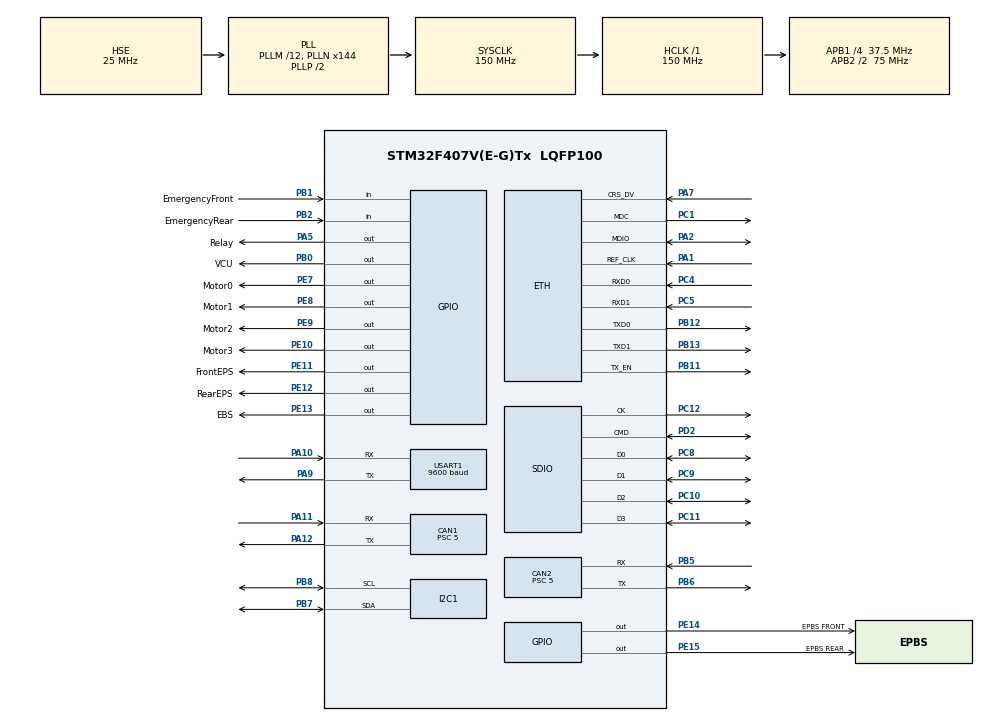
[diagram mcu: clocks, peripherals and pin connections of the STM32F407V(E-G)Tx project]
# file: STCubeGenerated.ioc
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CAN1.BS1=CAN_BS1_9TQ
CAN1.BS2=CAN_BS2_5TQ
CAN1.CalculateBaudRate=499999
CAN1.CalculateTimeBit=2000
CAN1.CalculateTimeQuantum=133.33333333333334
CAN1.Prescaler=5
CAN2.BS1=CAN_BS1_9TQ
CAN2.BS2=CAN_BS2_5TQ
CAN2.CalculateBaudRate=499999
CAN2.CalculateTimeBit=2000
CAN2.CalculateTimeQuantum=133.33333333333334
CAN2.Prescaler=5
Dma.Request0=SDIO_RX
Dma.Request1=SDIO_TX
Dma.SDIO_RX.0.Direction=DMA_PERIPH_TO_MEMORY
Dma.SDIO_RX.0.FIFOMode=DMA_FIFOMODE_ENABLE
Dma.SDIO_RX.0.FIFOThreshold=DMA_FIFO_THRESHOLD_FULL
Dma.SDIO_RX.0.Instance=DMA2_Stream3
Dma.SDIO_RX.0.MemBurst=DMA_MBURST_INC4
Dma.SDIO_RX.0.MemDataAlignment=DMA_MDATAALIGN_WORD
Dma.SDIO_RX.0.MemInc=DMA_MINC_ENABLE
Dma.SDIO_RX.0.Mode=DMA_PFCTRL
Dma.SDIO_RX.0.PeriphBurst=DMA_PBURST_INC4
Dma.SDIO_RX.0.PeriphDataAlignment=DMA_PDATAALIGN_WORD
Dma.SDIO_RX.0.PeriphInc=DMA_PINC_DISABLE
Dma.SDIO_RX.0.Priority=DMA_PRIORITY_MEDIUM
Dma.SDIO_TX.1.Direction=DMA_MEMORY_TO_PERIPH
Dma.SDIO_TX.1.FIFOMode=DMA_FIFOMODE_ENABLE
Dma.SDIO_TX.1.FIFOThreshold=DMA_FIFO_THRESHOLD_FULL
Dma.SDIO_TX.1.Instance=DMA2_Stream6
Dma.SDIO_TX.1.MemBurst=DMA_MBURST_INC4
Dma.SDIO_TX.1.MemDataAlignment=DMA_MDATAALIGN_WORD
Dma.SDIO_TX.1.MemInc=DMA_MINC_ENABLE
Dma.SDIO_TX.1.Mode=DMA_PFCTRL
Dma.SDIO_TX.1.PeriphBurst=DMA_PBURST_INC4
Dma.SDIO_TX.1.PeriphDataAlignment=DMA_PDATAALIGN_WORD
Dma.SDIO_TX.1.PeriphInc=DMA_PINC_DISABLE
Dma.SDIO_TX.1.Priority=DMA_PRIORITY_MEDIUM
ETH.MediaInterface=HAL_ETH_RMII_MODE
ETH.PHY_Name_RMII=DP83848_PHY_ADDRESS
ETH.RxMode=ETH_RXINTERRUPT_MODE
Mcu.Family=STM32F4
Mcu.Name=STM32F407V(E-G)Tx
Mcu.Package=LQFP100
NVIC.DMA2_Stream3_IRQn=true\:0\:0\:false\:false\:true\:false\:true\:true
NVIC.DMA2_Stream6_IRQn=true\:0\:0\:false\:false\:true\:false\:true\:true
NVIC.ETH_IRQn=true\:0\:0\:false\:false\:false\:false\:true\:true
NVIC.PriorityGroup=NVIC_PRIORITYGROUP_4
NVIC.TIM8_TRG_COM_TIM14_IRQn=true\:15\:0\:false\:false\:true\:false\:true\:true
NVIC.TimeBase=TIM8_TRG_COM_TIM14_IRQn
NVIC.TimeBaseIP=TIM14
NVIC.USART1_IRQn=true\:0\:0\:false\:false\:true\:true\:true\:true
PA1.Mode=RMII
PA1.Signal=ETH_REF_CLK
PA10.Mode=Asynchronous
PA10.Signal=USART1_RX
PA11.Mode=CAN_Activate
PA11.Signal=CAN1_RX
PA12.Mode=CAN_Activate
PA12.Signal=CAN1_TX
PA13.Mode=Serial_Wire
PA13.Signal=SYS_JTMS-SWDIO
PA14.Mode=Serial_Wire
PA14.Signal=SYS_JTCK-SWCLK
PA2.Mode=RMII
PA2.Signal=ETH_MDIO
PA5.GPIO_Label=Relay
PA5.Signal=GPIO_Output
PA7.Mode=RMII
PA7.Signal=ETH_CRS_DV
PA9.Mode=Asynchronous
PA9.Signal=USART1_TX
PB0.GPIO_Label=VCU
PB0.Signal=GPIO_Output
PB1.GPIO_Label=EmergencyFront
PB1.Signal=GPIO_Input
PB11.Mode=RMII
PB11.Signal=ETH_TX_EN
PB12.Mode=RMII
PB12.Signal=ETH_TXD0
PB13.Mode=RMII
PB13.Signal=ETH_TXD1
PB2.GPIO_Label=EmergencyRear
PB2.Signal=GPIO_Input
PB5.Mode=CAN_Activate
PB5.Signal=CAN2_RX
PB6.Mode=CAN_Activate
PB6.Signal=CAN2_TX
PB7.Mode=I2C
PB7.Signal=I2C1_SDA
PB8.Mode=I2C
PB8.Signal=I2C1_SCL
PC1.Mode=RMII
PC1.Signal=ETH_MDC
PC10.Mode=SD_4_bits_Wide_bus
PC10.Signal=SDIO_D2
PC11.Mode=SD_4_bits_Wide_bus
PC11.Signal=SDIO_D3
PC12.Mode=SD_4_bits_Wide_bus
PC12.Signal=SDIO_CK
PC4.Mode=RMII
PC4.Signal=ETH_RXD0
PC5.Mode=RMII
PC5.Signal=ETH_RXD1
PC8.Mode=SD_4_bits_Wide_bus
PC8.Signal=SDIO_D0
PC9.Mode=SD_4_bits_Wide_bus
PC9.Signal=SDIO_D1
PD2.Mode=SD_4_bits_Wide_bus
PD2.Signal=SDIO_CMD
PE10.GPIO_Label=Motor3
PE10.Signal=GPIO_Output
PE11.GPIO_Label=FrontEPS
PE11.Signal=GPIO_Output
PE12.GPIO_Label=RearEPS
PE12.Signal=GPIO_Output
PE13.GPIO_Label=EBS
PE13.Signal=GPIO_Output
PE14.GPIO_Label=EPBS FRONT
PE14.Signal=GPIO_Output
PE15.GPIO_Label=EPBS REAR
PE15.Signal=GPIO_Output
PE7.GPIO_Label=Motor0
PE7.Signal=GPIO_Output
PE8.GPIO_Label=Motor1
PE8.Signal=GPIO_Output
PE9.GPIO_Label=Motor2
PE9.Signal=GPIO_Output
PH0-OSC_IN.Mode=HSE-External-Oscillator
PH0-OSC_IN.Signal=RCC_OSC_IN
PH1-OSC_OUT.Mode=HSE-External-Oscillator
PH1-OSC_OUT.Signal=RCC_OSC_OUT
ProjectManager.HeapSize=0x200
ProjectManager.StackSize=0x400
ProjectManager.TargetToolchain=MDK-ARM V5.32
RCC.48MHZClocksFreq_Value=42857142.85714286
RCC.AHBFreq_Value=150000000
RCC.APB1CLKDivider=RCC_HCLK_DIV4
RCC.APB1Freq_Value=37500000
RCC.APB1TimFreq_Value=75000000
RCC.APB2CLKDivider=RCC_HCLK_DIV2
RCC.APB2Freq_Value=75000000
RCC.APB2TimFreq_Value=150000000
RCC.CortexFreq_Value=150000000
RCC.HCLKFreq_Value=150000000
RCC.HSE_VALUE=25000000
RCC.HSI_VALUE=16000000
RCC.LSE_VALUE=32768
RCC.PLLM=12
RCC.PLLN=144
RCC.PLLQ=7
RCC.PLLSourceVirtual=RCC_PLLSOURCE_HSE
RCC.SYSCLKFreq_VALUE=150000000
RCC.SYSCLKSource=RCC_SYSCLKSOURCE_PLLCLK
RCC.VCOOutputFreq_Value=300000000
USART1.BaudRate=9600
USART1.VirtualMode=VM_ASYNC
VP_SYS_VS_tim14.Mode=TIM14
board=custom

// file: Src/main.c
/* USER CODE BEGIN Header */
/**
  ******************************************************************************
  * @file           : main.c
  * @brief          : Main program body
  ******************************************************************************
  * @attention
  *
  * Copyright (c) 2022 STMicroelectronics.
  * All rights reserved.
  *
  * This software is licensed under terms that can be found in the LICENSE file
  * in the root directory of this software component.
  * If no LICENSE file comes with this software, it is provided AS-IS.
  *
  ******************************************************************************
  */
/* USER CODE END Header */
#include "main.h"
#include "string.h"

/* USER CODE BEGIN Includes */
#include "app_main.h"
/* USER CODE END Includes */

/* USER CODE BEGIN PM */
typedef struct {
	uint16_t Attributes;
	uint16_t ChecksumCtrl;
	uint16_t CRCPadCtrl;
} ETH_TxPacketConfig;
#define ETH_RX_DESC_CNT 1
#define ETH_TX_DESC_CNT 1
/* USER CODE END PM */

ETH_TxPacketConfig TxConfig;
ETH_DMADescTypeDef  DMARxDscrTab[ETH_RX_DESC_CNT]; /* Ethernet Rx DMA Descriptors */
ETH_DMADescTypeDef  DMATxDscrTab[ETH_TX_DESC_CNT]; /* Ethernet Tx DMA Descriptors */

 CAN_HandleTypeDef hcan1;
CAN_HandleTypeDef hcan2;

ETH_HandleTypeDef heth;

I2C_HandleTypeDef hi2c1;

SD_HandleTypeDef hsd;
DMA_HandleTypeDef hdma_sdio_rx;
DMA_HandleTypeDef hdma_sdio_tx;

void SystemClock_Config(void);
static void MX_GPIO_Init(void);
static void MX_ETH_Init(void);
static void MX_DMA_Init(void);
static void MX_SDIO_SD_Init(void);
static void MX_CAN1_Init(void);
static void MX_CAN2_Init(void);
static void MX_I2C1_Init(void);
static void MX_USART1_UART_Init(void);

int main(void)
{

  /* MCU Configuration--------------------------------------------------------*/

  /* Reset of all peripherals, Initializes the Flash interface and the Systick. */
  HAL_Init();

  /* Configure the system clock */
  SystemClock_Config();

  /* Initialize all configured peripherals */
  MX_GPIO_Init();
  MX_ETH_Init();
  MX_DMA_Init();
  MX_SDIO_SD_Init();
  MX_CAN1_Init();
  MX_CAN2_Init();
  MX_I2C1_Init();
  MX_USART1_UART_Init();
  /* USER CODE BEGIN 2 */

    osKernelInitialize();
		InitAppMain();
    osKernelStart();
  /* USER CODE END 2 */

  /* Infinite loop */
  while (1)
  {

  }
}

void SystemClock_Config(void)
{
  RCC_OscInitTypeDef RCC_OscInitStruct = {0};
  RCC_ClkInitTypeDef RCC_ClkInitStruct = {0};

  /** Configure the main internal regulator output voltage
  */
  __HAL_RCC_PWR_CLK_ENABLE();
  __HAL_PWR_VOLTAGESCALING_CONFIG(PWR_REGULATOR_VOLTAGE_SCALE1);

  /** Initializes the RCC Oscillators according to the specified parameters
  * in the RCC_OscInitTypeDef structure.
  */
  RCC_OscInitStruct.OscillatorType = RCC_OSCILLATORTYPE_HSE;
  RCC_OscInitStruct.HSEState = RCC_HSE_ON;
  RCC_OscInitStruct.PLL.PLLState = RCC_PLL_ON;
  RCC_OscInitStruct.PLL.PLLSource = RCC_PLLSOURCE_HSE;
  RCC_OscInitStruct.PLL.PLLM = 12;
  RCC_OscInitStruct.PLL.PLLN = 144;
  RCC_OscInitStruct.PLL.PLLP = RCC_PLLP_DIV2;
  RCC_OscInitStruct.PLL.PLLQ = 7;
  if (HAL_RCC_OscConfig(&RCC_OscInitStruct) != HAL_OK)
  {
    Error_Handler();
  }

  /** Initializes the CPU, AHB and APB buses clocks
  */
  RCC_ClkInitStruct.ClockType = RCC_CLOCKTYPE_HCLK|RCC_CLOCKTYPE_SYSCLK
                              |RCC_CLOCKTYPE_PCLK1|RCC_CLOCKTYPE_PCLK2;
  RCC_ClkInitStruct.SYSCLKSource = RCC_SYSCLKSOURCE_PLLCLK;
  RCC_ClkInitStruct.AHBCLKDivider = RCC_SYSCLK_DIV1;
  RCC_ClkInitStruct.APB1CLKDivider = RCC_HCLK_DIV4;
  RCC_ClkInitStruct.APB2CLKDivider = RCC_HCLK_DIV2;

  if (HAL_RCC_ClockConfig(&RCC_ClkInitStruct, FLASH_LATENCY_4) != HAL_OK)
  {
    Error_Handler();
  }
}

static void MX_CAN1_Init(void)
{

  hcan1.Instance = CAN1;
  hcan1.Init.Prescaler = 5;
  hcan1.Init.Mode = CAN_MODE_NORMAL;
  hcan1.Init.SyncJumpWidth = CAN_SJW_1TQ;
  hcan1.Init.TimeSeg1 = CAN_BS1_9TQ;
  hcan1.Init.TimeSeg2 = CAN_BS2_5TQ;
  hcan1.Init.TimeTriggeredMode = DISABLE;
  hcan1.Init.AutoBusOff = DISABLE;
  hcan1.Init.AutoWakeUp = DISABLE;
  hcan1.Init.AutoRetransmission = DISABLE;
  hcan1.Init.ReceiveFifoLocked = DISABLE;
  hcan1.Init.TransmitFifoPriority = DISABLE;
  if (HAL_CAN_Init(&hcan1) != HAL_OK)
  {
    Error_Handler();
  }

}

static void MX_CAN2_Init(void)
{

  hcan2.Instance = CAN2;
  hcan2.Init.Prescaler = 5;
  hcan2.Init.Mode = CAN_MODE_NORMAL;
  hcan2.Init.SyncJumpWidth = CAN_SJW_1TQ;
  hcan2.Init.TimeSeg1 = CAN_BS1_9TQ;
  hcan2.Init.TimeSeg2 = CAN_BS2_5TQ;
  hcan2.Init.TimeTriggeredMode = DISABLE;
  hcan2.Init.AutoBusOff = DISABLE;
  hcan2.Init.AutoWakeUp = DISABLE;
  hcan2.Init.AutoRetransmission = DISABLE;
  hcan2.Init.ReceiveFifoLocked = DISABLE;
  hcan2.Init.TransmitFifoPriority = DISABLE;
  if (HAL_CAN_Init(&hcan2) != HAL_OK)
  {
    Error_Handler();
  }

}

static void MX_ETH_Init(void)
{

   static uint8_t MACAddr[6];

  /* USER CODE BEGIN ETH_Init 1 */
	#define HAL_ETH_RMII_MODE ETH_RXINTERRUPT_MODE
	#define ETH_TX_PACKETS_FEATURES_CSUM 0
	#define ETH_TX_PACKETS_FEATURES_CRCPAD 0
	#define ETH_CHECKSUM_IPHDR_PAYLOAD_INSERT_PHDR_CALC 0
	#define ETH_CRC_PAD_INSERT 0
  /* USER CODE END ETH_Init 1 */
  heth.Instance = ETH;
  MACAddr[0] = 0x00;
  MACAddr[1] = 0x80;
  MACAddr[2] = 0xE1;
  MACAddr[3] = 0x00;
  MACAddr[4] = 0x00;
  MACAddr[5] = 0x00;
  heth.Init.MACAddr = &MACAddr[0];
  heth.Init.MediaInterface = HAL_ETH_RMII_MODE;

  /* USER CODE BEGIN MACADDRESS */
  heth.Init.AutoNegotiation = ETH_AUTONEGOTIATION_DISABLE;
  heth.Init.Speed = ETH_SPEED_100M;
  heth.Init.DuplexMode = ETH_MODE_FULLDUPLEX;
  heth.Init.PhyAddress = DP83848_PHY_ADDRESS;
  heth.Init.RxMode = ETH_RXINTERRUPT_MODE;
  heth.Init.ChecksumMode = ETH_CHECKSUM_BY_HARDWARE;
  heth.Init.MediaInterface = ETH_MEDIA_INTERFACE_RMII;
  /* USER CODE END MACADDRESS */

  if (HAL_ETH_Init(&heth) != HAL_OK)
  {
    Error_Handler();
  }

  memset(&TxConfig, 0 , sizeof(ETH_TxPacketConfig));
  TxConfig.Attributes = ETH_TX_PACKETS_FEATURES_CSUM | ETH_TX_PACKETS_FEATURES_CRCPAD;
  TxConfig.ChecksumCtrl = ETH_CHECKSUM_IPHDR_PAYLOAD_INSERT_PHDR_CALC;
  TxConfig.CRCPadCtrl = ETH_CRC_PAD_INSERT;

}

static void MX_I2C1_Init(void)
{

  hi2c1.Instance = I2C1;
  hi2c1.Init.ClockSpeed = 100000;
  hi2c1.Init.DutyCycle = I2C_DUTYCYCLE_2;
  hi2c1.Init.OwnAddress1 = 0;
  hi2c1.Init.AddressingMode = I2C_ADDRESSINGMODE_7BIT;
  hi2c1.Init.DualAddressMode = I2C_DUALADDRESS_DISABLE;
  hi2c1.Init.OwnAddress2 = 0;
  hi2c1.Init.GeneralCallMode = I2C_GENERALCALL_DISABLE;
  hi2c1.Init.NoStretchMode = I2C_NOSTRETCH_DISABLE;
  if (HAL_I2C_Init(&hi2c1) != HAL_OK)
  {
    Error_Handler();
  }

}

static void MX_SDIO_SD_Init(void)
{

  hsd.Instance = SDIO;
  hsd.Init.ClockEdge = SDIO_CLOCK_EDGE_RISING;
  hsd.Init.ClockBypass = SDIO_CLOCK_BYPASS_DISABLE;
  hsd.Init.ClockPowerSave = SDIO_CLOCK_POWER_SAVE_DISABLE;
  hsd.Init.BusWide = SDIO_BUS_WIDE_1B;
  hsd.Init.HardwareFlowControl = SDIO_HARDWARE_FLOW_CONTROL_DISABLE;
  hsd.Init.ClockDiv = 0;
  if (HAL_SD_Init(&hsd) != HAL_OK)
  {
    Error_Handler();
  }
  if (HAL_SD_ConfigWideBusOperation(&hsd, SDIO_BUS_WIDE_4B) != HAL_OK)
  {
    Error_Handler();
  }

}

static void MX_USART1_UART_Init(void)
{

  LL_USART_InitTypeDef USART_InitStruct = {0};

  LL_GPIO_InitTypeDef GPIO_InitStruct = {0};

  /* Peripheral clock enable */
  LL_APB2_GRP1_EnableClock(LL_APB2_GRP1_PERIPH_USART1);

  LL_AHB1_GRP1_EnableClock(LL_AHB1_GRP1_PERIPH_GPIOA);
  /**USART1 GPIO Configuration
  PA9   ------> USART1_TX
  PA10   ------> USART1_RX
  */
  GPIO_InitStruct.Pin = LL_GPIO_PIN_9|LL_GPIO_PIN_10;
  GPIO_InitStruct.Mode = LL_GPIO_MODE_ALTERNATE;
  GPIO_InitStruct.Speed = LL_GPIO_SPEED_FREQ_VERY_HIGH;
  GPIO_InitStruct.OutputType = LL_GPIO_OUTPUT_PUSHPULL;
  GPIO_InitStruct.Pull = LL_GPIO_PULL_NO;
  GPIO_InitStruct.Alternate = LL_GPIO_AF_7;
  LL_GPIO_Init(GPIOA, &GPIO_InitStruct);

  /* USART1 interrupt Init */
  NVIC_SetPriority(USART1_IRQn, NVIC_EncodePriority(NVIC_GetPriorityGrouping(),0, 0));
  NVIC_EnableIRQ(USART1_IRQn);

  USART_InitStruct.BaudRate = 9600;
  USART_InitStruct.DataWidth = LL_USART_DATAWIDTH_8B;
  USART_InitStruct.StopBits = LL_USART_STOPBITS_1;
  USART_InitStruct.Parity = LL_USART_PARITY_NONE;
  USART_InitStruct.TransferDirection = LL_USART_DIRECTION_TX_RX;
  USART_InitStruct.HardwareFlowControl = LL_USART_HWCONTROL_NONE;
  USART_InitStruct.OverSampling = LL_USART_OVERSAMPLING_16;
  LL_USART_Init(USART1, &USART_InitStruct);
  LL_USART_ConfigAsyncMode(USART1);
  LL_USART_Enable(USART1);

}

static void MX_DMA_Init(void)
{

  /* DMA controller clock enable */
  __HAL_RCC_DMA2_CLK_ENABLE();

  /* DMA interrupt init */
  /* DMA2_Stream3_IRQn interrupt configuration */
  HAL_NVIC_SetPriority(DMA2_Stream3_IRQn, 0, 0);
  HAL_NVIC_EnableIRQ(DMA2_Stream3_IRQn);
  /* DMA2_Stream6_IRQn interrupt configuration */
  HAL_NVIC_SetPriority(DMA2_Stream6_IRQn, 0, 0);
  HAL_NVIC_EnableIRQ(DMA2_Stream6_IRQn);

}

static void MX_GPIO_Init(void)
{
  GPIO_InitTypeDef GPIO_InitStruct = {0};

  /* GPIO Ports Clock Enable */
  __HAL_RCC_GPIOH_CLK_ENABLE();
  __HAL_RCC_GPIOC_CLK_ENABLE();
  __HAL_RCC_GPIOA_CLK_ENABLE();
  __HAL_RCC_GPIOB_CLK_ENABLE();
  __HAL_RCC_GPIOE_CLK_ENABLE();
  __HAL_RCC_GPIOD_CLK_ENABLE();

  /*Configure GPIO pin Output Level */
  HAL_GPIO_WritePin(Relay_GPIO_Port, Relay_Pin, GPIO_PIN_RESET);

  /*Configure GPIO pin Output Level */
  HAL_GPIO_WritePin(VCU_GPIO_Port, VCU_Pin, GPIO_PIN_RESET);

  /*Configure GPIO pin Output Level */
  HAL_GPIO_WritePin(GPIOE, Motor0_Pin|Motor1_Pin|Motor2_Pin|Motor3_Pin
                          |FrontEPS_Pin|RearEPS_Pin|EBS_Pin|EPBS_FRONT_Pin
                          |EPBS_REAR_Pin, GPIO_PIN_RESET);

  /*Configure GPIO pin : Relay_Pin */
  GPIO_InitStruct.Pin = Relay_Pin;
  GPIO_InitStruct.Mode = GPIO_MODE_OUTPUT_PP;
  GPIO_InitStruct.Pull = GPIO_NOPULL;
  GPIO_InitStruct.Speed = GPIO_SPEED_FREQ_LOW;
  HAL_GPIO_Init(Relay_GPIO_Port, &GPIO_InitStruct);

  /*Configure GPIO pin : VCU_Pin */
  GPIO_InitStruct.Pin = VCU_Pin;
  GPIO_InitStruct.Mode = GPIO_MODE_OUTPUT_PP;
  GPIO_InitStruct.Pull = GPIO_NOPULL;
  GPIO_InitStruct.Speed = GPIO_SPEED_FREQ_LOW;
  HAL_GPIO_Init(VCU_GPIO_Port, &GPIO_InitStruct);

  /*Configure GPIO pins : EmergencyFront_Pin EmergencyRear_Pin */
  GPIO_InitStruct.Pin = EmergencyFront_Pin|EmergencyRear_Pin;
  GPIO_InitStruct.Mode = GPIO_MODE_INPUT;
  GPIO_InitStruct.Pull = GPIO_NOPULL;
  HAL_GPIO_Init(GPIOB, &GPIO_InitStruct);

  /*Configure GPIO pins : Motor0_Pin Motor1_Pin Motor2_Pin Motor3_Pin
                           FrontEPS_Pin RearEPS_Pin EBS_Pin EPBS_FRONT_Pin
                           EPBS_REAR_Pin */
  GPIO_InitStruct.Pin = Motor0_Pin|Motor1_Pin|Motor2_Pin|Motor3_Pin
                          |FrontEPS_Pin|RearEPS_Pin|EBS_Pin|EPBS_FRONT_Pin
                          |EPBS_REAR_Pin;
  GPIO_InitStruct.Mode = GPIO_MODE_OUTPUT_PP;
  GPIO_InitStruct.Pull = GPIO_NOPULL;
  GPIO_InitStruct.Speed = GPIO_SPEED_FREQ_LOW;
  HAL_GPIO_Init(GPIOE, &GPIO_InitStruct);

}

void HAL_TIM_PeriodElapsedCallback(TIM_HandleTypeDef *htim)
{
  if (htim->Instance == TIM14) {
    HAL_IncTick();
  }
}

void Error_Handler(void)
{
  __disable_irq();
  while (1)
  {
  }
}
